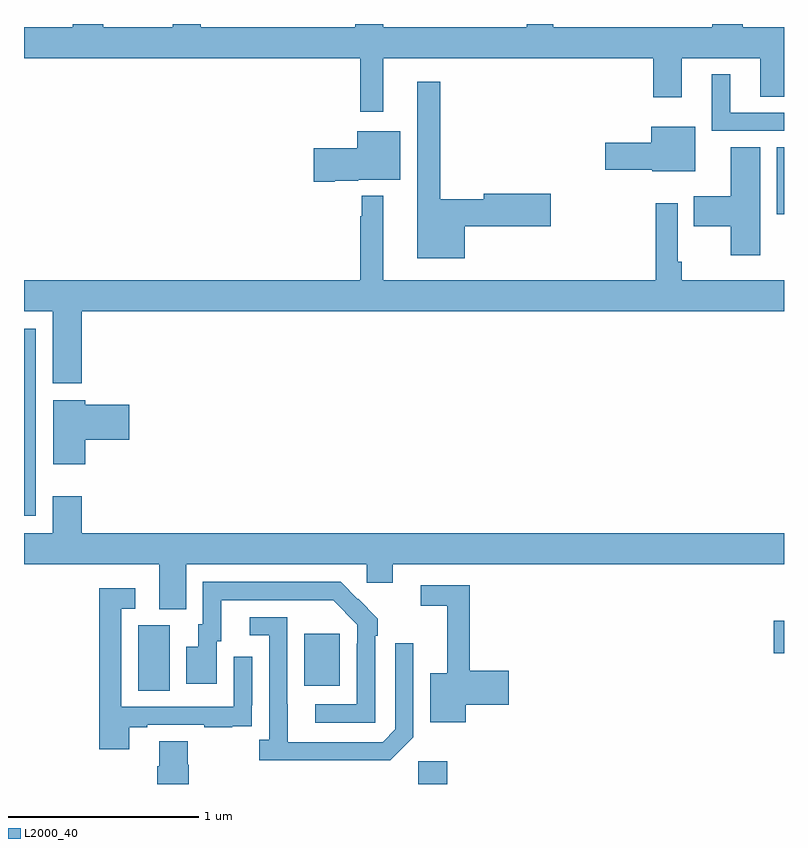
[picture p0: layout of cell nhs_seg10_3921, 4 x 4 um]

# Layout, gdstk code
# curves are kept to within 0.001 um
import gdstk
lib = gdstk.Library(unit=1e-6, precision=1e-09)
def R(c, l, rs):  # rectangles x0, y0, x1, y1
    for r in rs: c.add(gdstk.rectangle(r[:2], r[2:], *l))
def P(c, l, *ps):  # polygons
    for p in ps: c.add(gdstk.Polygon(p, *l))
L2000_40 = (2000, 40)

nhs_seg10_3921 = lib.new_cell('nhs_seg10_3921')
R(nhs_seg10_3921, L2000_40, [(329.076,1292.5,329.228,1292.62), (327.602,1292.992,327.766,1293.336), (328.475,1293.017,328.663,1293.292), (330.945,1293.188,331,1293.358), (327,1293.912,327.063,1294.896), (330.962,1295.499,331,1295.852)])
P(nhs_seg10_3921, L2000_40, [(328.891,1296.32),(330.311,1296.32),(330.311,1296.114),(330.463,1296.114),(330.463,1296.32),(330.875,1296.32),(330.875,1296.118),(331,1296.118),(331,1296.484),(330.782,1296.484),(330.782,1296.5),(330.622,1296.5),(330.622,1296.484),(329.785,1296.484),(329.785,1296.5),(329.645,1296.5),(329.645,1296.484),(328.891,1296.484),(328.891,1296.5),(328.744,1296.5),(328.744,1296.484),(327.93,1296.484),(327.93,1296.5),(327.784,1296.5),(327.784,1296.484),(327.417,1296.484),(327.417,1296.5),(327.257,1296.5),(327.257,1296.484),(327,1296.484),(327,1296.32),(328.77,1296.32),(328.77,1296.039),(328.891,1296.039)],
  [(331,1296.033),(330.718,1296.033),(330.718,1296.235),(330.62,1296.235),(330.62,1295.937),(331,1295.937)],
  [(329.32,1295.435),(329.773,1295.435),(329.773,1295.606),(329.42,1295.606),(329.42,1295.578),(329.191,1295.578),(329.191,1296.196),(329.069,1296.196),(329.069,1295.267),(329.32,1295.267)],
  [(330.532,1295.959),(330.302,1295.959),(330.302,1295.874),(330.06,1295.874),(330.06,1295.732),(330.306,1295.732),(330.306,1295.726),(330.532,1295.726)],
  [(328.636,1295.675),(328.758,1295.675),(328.758,1295.681),(328.981,1295.681),(328.981,1295.935),(328.754,1295.935),(328.754,1295.847),(328.524,1295.847),(328.524,1295.669),(328.636,1295.669)],
  [(330.874,1295.852),(330.719,1295.852),(330.719,1295.593),(330.526,1295.593),(330.526,1295.435),(330.719,1295.435),(330.719,1295.283),(330.874,1295.283)],
  [(330.325,1295.557),(330.325,1295.152),(328.891,1295.152),(328.891,1295.596),(328.777,1295.596),(328.777,1295.489),(328.77,1295.489),(328.77,1295.152),(327,1295.152),(327,1294.988),(327.152,1294.988),(327.152,1294.608),(327.305,1294.608),(327.305,1294.988),(331,1294.988),(331,1295.152),(330.461,1295.152),(330.461,1295.248),(330.441,1295.248),(330.441,1295.557)],
  [(327.322,1294.313),(327.553,1294.313),(327.553,1294.496),(327.322,1294.496),(327.322,1294.519),(327.155,1294.519),(327.155,1294.182),(327.322,1294.182)],
  [(327.853,1293.656),(328.803,1293.656),(328.803,1293.558),(328.942,1293.558),(328.942,1293.656),(331,1293.656),(331,1293.82),(327.305,1293.82),(327.305,1294.015),(327.152,1294.015),(327.152,1293.82),(327,1293.82),(327,1293.656),(327.713,1293.656),(327.713,1293.421),(327.853,1293.421)],
  [(328.848,1293.281),(328.863,1293.281),(328.863,1293.369),(328.666,1293.564),(327.942,1293.564),(327.942,1293.342),(327.917,1293.342),(327.917,1293.223),(327.854,1293.223),(327.854,1293.027),(328.015,1293.027),(328.015,1293.252),(328.039,1293.252),(328.039,1293.468),(328.627,1293.468),(328.755,1293.339),(328.755,1293.239),(328.752,1293.239),(328.752,1292.919),(328.533,1292.919),(328.533,1292.823),(328.848,1292.823)],
  [(329.326,1292.917),(329.551,1292.917),(329.551,1293.095),(329.345,1293.095),(329.345,1293.546),(329.088,1293.546),(329.088,1293.438),(329.228,1293.438),(329.228,1293.082),(329.138,1293.082),(329.138,1292.825),(329.326,1292.825)],
  [(327.553,1292.799),(327.649,1292.799),(327.649,1292.811),(327.949,1292.811),(327.949,1292.799),(328.097,1292.799),(328.097,1292.805),(328.199,1292.805),(328.199,1292.914),(328.2,1292.914),(328.2,1293.169),(328.104,1293.169),(328.104,1292.907),(327.513,1292.907),(327.513,1293.423),(327.586,1293.423),(327.586,1293.529),(327.397,1293.529),(327.397,1292.682),(327.553,1292.682)],
  [(329.049,1292.745),(329.049,1293.241),(328.953,1293.241),(328.953,1292.787),(328.887,1292.721),(328.387,1292.721),(328.386,1293.378),(328.188,1293.378),(328.188,1293.282),(328.29,1293.282),(328.29,1292.734),(328.239,1292.734),(328.239,1292.624),(328.928,1292.624)],
  [(327.866,1292.601),(327.861,1292.601),(327.861,1292.726),(327.713,1292.726),(327.713,1292.594),(327.701,1292.594),(327.701,1292.5),(327.866,1292.5)])

lib.write_gds('nhs_seg10_3921.gds')
